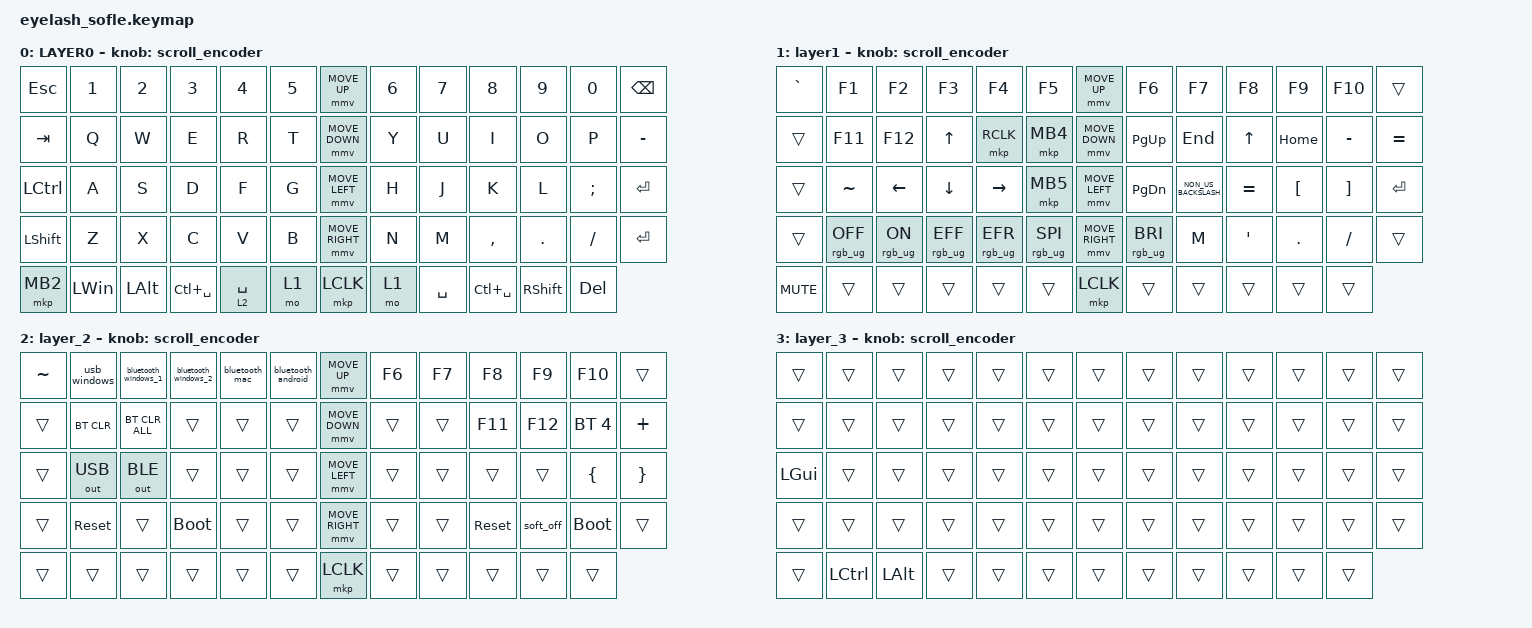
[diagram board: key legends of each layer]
#define ZMK_POINTING_DEFAULT_MOVE_VAL 1200  // 600
#define ZMK_POINTING_DEFAULT_SCRL_VAL 35    // 10

#include <input/processors.dtsi>
#include <zephyr/dt-bindings/input/input-event-codes.h>
#include <behaviors.dtsi>
#include <dt-bindings/zmk/bt.h>
#include <dt-bindings/zmk/keys.h>
#include <dt-bindings/zmk/outputs.h>
#include <dt-bindings/zmk/pointing.h>
#include <dt-bindings/zmk/rgb.h>

/ {
    zip_scroll_scaler: zip_scroll_scaler {
        compatible = "zmk,input-processor-scaler";
        #input-processor-cells = <2>;
        type = <INPUT_EV_REL>;
        codes = <INPUT_REL_WHEEL INPUT_REL_HWHEEL>;
        track-remainders;
    };
};

&mmv_input_listener { input-processors = <&zip_xy_scaler 2 1>; };

&msc_input_listener { input-processors = <&zip_scroll_scaler 2 1>; };

&msc {
    acceleration-exponent = <0>;      // 0
    time-to-max-speed-ms = <0>;       // 300
    delay-ms = <0>;                   // 0
};

&mmv {
    time-to-max-speed-ms = <400>;
    acceleration-exponent = <1>;
};

/ {
    scroll_encoder: scroll_encoder {
        compatible = "zmk,behavior-sensor-rotate";
        #sensor-binding-cells = <0>;
        bindings = <&msc SCRL_DOWN>, <&msc SCRL_UP>;

        tap-ms = <30>;
    };

    behaviors {
        usb_windows: usb_windows {
            compatible = "zmk,behavior-macro";
            #binding-cells = <0>;
            display-name = "USB Windows";
            wait-ms = <20>;
            bindings = <&out OUT_USB &to 0>;
        };

        bluetooth_windows_1: bluetooth_windows_1 {
            compatible = "zmk,behavior-macro";
            #binding-cells = <0>;
            display-name = "Bluetooth Windows 1";
            wait-ms = <20>;
            bindings = <&out OUT_BLE &bt BT_SEL 0 &to 0>;
        };

        bluetooth_windows_2: bluetooth_windows_2 {
            compatible = "zmk,behavior-macro";
            #binding-cells = <0>;
            display-name = "Bluetooth Windows 2";
            wait-ms = <20>;
            bindings = <&out OUT_BLE &bt BT_SEL 1 &to 0>;
        };

        bluetooth_mac: bluetooth_mac {
            compatible = "zmk,behavior-macro";
            #binding-cells = <0>;
            display-name = "Bluetooth Mac";
            wait-ms = <20>;
            bindings = <&out OUT_BLE &bt BT_SEL 2 &to 3>;
        };

        bluetooth_android: bluetooth_android {
            compatible = "zmk,behavior-macro";
            #binding-cells = <0>;
            display-name = "Bluetooth Android";
            wait-ms = <20>;
            bindings = <&out OUT_BLE &bt BT_SEL 3 &to 0>;
        };
    };

    keymap {
        compatible = "zmk,keymap";

        layer0 {
            bindings = <
&kp ESC    &kp N1        &kp N2        &kp N3         &kp N4       &kp N5    &mmv MOVE_UP     &kp N6  &kp N7     &kp N8         &kp N9           &kp N0      &kp BACKSPACE
&kp TAB    &kp Q         &kp W         &kp E          &kp R        &kp T     &mmv MOVE_DOWN   &kp Y   &kp U      &kp I          &kp O            &kp P       &kp MINUS
&kp LCTRL  &kp A         &kp S         &kp D          &kp F        &kp G     &mmv MOVE_LEFT   &kp H   &kp J      &kp K          &kp L            &kp SEMI    &kp ENTER
&kp LSHFT  &kp Z         &kp X         &kp C          &kp V        &kp B     &mmv MOVE_RIGHT  &kp N   &kp M      &kp COMMA      &kp DOT          &kp FSLH    &kp ENTER
&mkp MB2   &kp LEFT_WIN  &kp LEFT_ALT  &kp LC(SPACE)  &lt 2 SPACE  &mo 1     &mkp LCLK        &mo 1   &kp SPACE  &kp LC(SPACE)  &kp RIGHT_SHIFT  &kp DELETE
            >;

            sensor-bindings = <&scroll_encoder>;
            display-name = "LAYER0";
        };

        layer_1 {
            bindings = <
&kp GRAVE   &kp F1           &kp F2          &kp F3           &kp F4           &kp F5             &mmv MOVE_UP     &kp F6           &kp F7                &kp F8     &kp F9            &kp F10            &trans
&trans      &kp F11          &kp F12         &kp UP_ARROW     &mkp RCLK        &mkp MB4           &mmv MOVE_DOWN   &kp PG_UP        &kp END               &kp UP     &kp HOME          &kp MINUS          &kp EQUAL
&trans      &kp TILDE        &kp LEFT_ARROW  &kp DOWN         &kp RIGHT        &mkp MB5           &mmv MOVE_LEFT   &kp PG_DN        &kp NON_US_BACKSLASH  &kp EQUAL  &kp LEFT_BRACKET  &kp RIGHT_BRACKET  &kp ENTER
&trans      &rgb_ug RGB_OFF  &rgb_ug RGB_ON  &rgb_ug RGB_EFF  &rgb_ug RGB_EFR  &rgb_ug RGB_SPI    &mmv MOVE_RIGHT  &rgb_ug RGB_BRI  &kp M                 &kp SQT    &kp PERIOD        &kp SLASH          &trans
&kp C_MUTE  &trans           &trans          &trans           &trans           &trans             &mkp LCLK        &trans           &trans                &trans     &trans            &trans
            >;

            display-name = "layer1";
            sensor-bindings = <&scroll_encoder>;
        };

        layer_2 {
            bindings = <
&kp TILDE  &usb_windows  &bluetooth_windows_1 &bluetooth_windows_2 &bluetooth_mac &bluetooth_android &mmv MOVE_UP     &kp F6  &kp F7  &kp F8      &kp F9     &kp F10      &trans
&trans     &bt BT_CLR    &bt BT_CLR_ALL  &trans        &trans        &trans          &mmv MOVE_DOWN   &trans  &trans  &kp F11     &kp F12    &bt BT_SEL 4 &kp PLUS
&trans     &out OUT_USB  &out OUT_BLE    &trans        &trans        &trans          &mmv MOVE_LEFT   &trans  &trans  &trans      &trans     &kp LBRC     &kp RBRC
&trans     &sys_reset    &trans          &bootloader   &trans        &trans          &mmv MOVE_RIGHT  &trans  &trans  &sys_reset  &soft_off  &bootloader  &trans
&trans     &trans        &trans          &trans        &trans        &trans          &mkp LCLK        &trans  &trans  &trans      &trans     &trans
            >;

            sensor-bindings = <&scroll_encoder>;
        };

        layer_3 {
            bindings = <
&trans  &trans  &trans  &trans  &trans  &trans    &trans  &trans  &trans  &trans  &trans  &trans  &trans
&trans  &trans  &trans  &trans  &trans  &trans    &trans  &trans  &trans  &trans  &trans  &trans  &trans
&kp LEFT_GUI  &trans  &trans  &trans  &trans  &trans    &trans  &trans  &trans  &trans  &trans  &trans  &trans
&trans  &trans  &trans  &trans  &trans  &trans    &trans  &trans  &trans  &trans  &trans  &trans  &trans
&trans  &kp LEFT_CONTROL  &kp LEFT_ALT  &trans  &trans  &trans    &trans  &trans  &trans  &trans  &trans  &trans
            >;

            sensor-bindings = <&scroll_encoder>;
        };
    };
};
